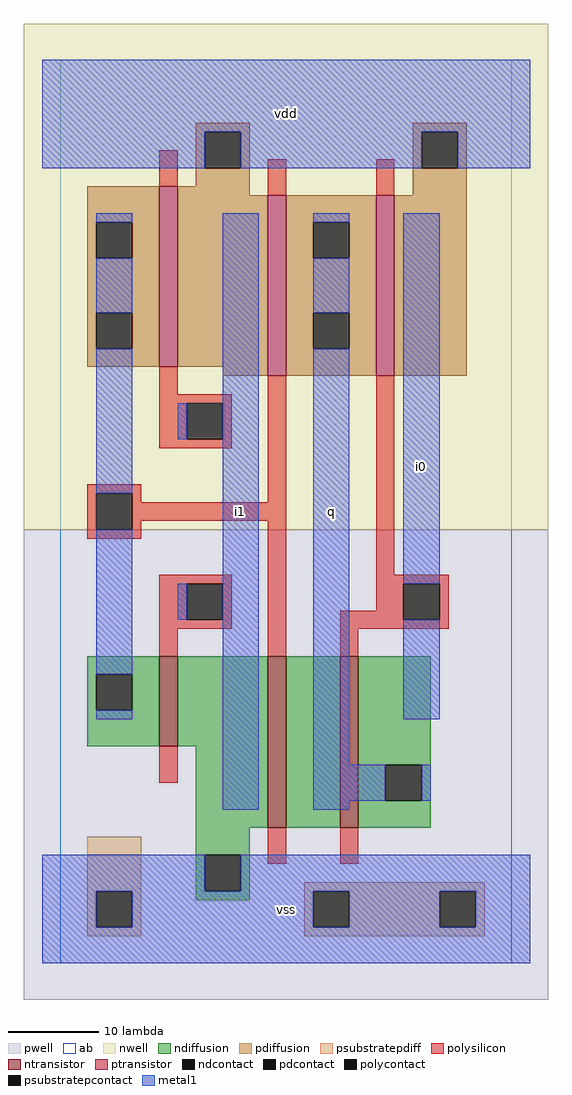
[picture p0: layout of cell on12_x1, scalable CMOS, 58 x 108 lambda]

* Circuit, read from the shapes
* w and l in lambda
.subckt on12_x1 i0 i1 q vdd vss
M1 vss i1 n1 vss nfet w=10 l=2
M2 n2 n1 vss vss nfet w=19 l=2
M3 q i0 n2 vss nfet w=19 l=2
M4 vdd i1 n1 n3 pfet w=20 l=2
M5 q n1 vdd n3 pfet w=20 l=2
M6 vdd i0 q n3 pfet w=20 l=2
.ends

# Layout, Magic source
magic
tech scmos
<< ab >>
rect 0 0 50 100
<< pwell >>
rect -4 -4 54 48
<< nwell >>
rect -4 48 54 104
<< polysilicon >>
rect 11 86 13 90
rect 23 85 25 89
rect 35 85 37 89
rect 11 63 13 66
rect 11 62 19 63
rect 11 58 14 62
rect 18 58 19 62
rect 11 57 19 58
rect 3 52 9 53
rect 3 48 4 52
rect 8 51 9 52
rect 23 51 25 65
rect 8 49 25 51
rect 8 48 9 49
rect 3 47 9 48
rect 11 42 19 43
rect 11 38 14 42
rect 18 38 19 42
rect 11 37 19 38
rect 11 34 13 37
rect 23 34 25 49
rect 35 43 37 65
rect 35 42 43 43
rect 35 39 38 42
rect 31 38 38 39
rect 42 38 43 42
rect 31 37 43 38
rect 31 34 33 37
rect 11 20 13 24
rect 23 11 25 15
rect 31 11 33 15
<< ndiffusion >>
rect 3 32 11 34
rect 3 28 4 32
rect 8 28 11 32
rect 3 24 11 28
rect 13 24 23 34
rect 15 15 23 24
rect 25 15 31 34
rect 33 22 41 34
rect 33 18 36 22
rect 40 18 41 22
rect 33 15 41 18
rect 15 12 21 15
rect 15 8 16 12
rect 20 8 21 12
rect 15 7 21 8
<< pdiffusion >>
rect 15 92 21 93
rect 15 88 16 92
rect 20 88 21 92
rect 39 92 45 93
rect 15 86 21 88
rect 3 82 11 86
rect 3 78 4 82
rect 8 78 11 82
rect 3 72 11 78
rect 3 68 4 72
rect 8 68 11 72
rect 3 66 11 68
rect 13 85 21 86
rect 39 88 40 92
rect 44 88 45 92
rect 39 85 45 88
rect 13 66 23 85
rect 18 65 23 66
rect 25 82 35 85
rect 25 78 28 82
rect 32 78 35 82
rect 25 72 35 78
rect 25 68 28 72
rect 32 68 35 72
rect 25 65 35 68
rect 37 65 45 85
<< metal1 >>
rect -2 92 52 100
rect -2 88 16 92
rect 20 88 40 92
rect 44 88 52 92
rect 4 82 8 83
rect 4 72 8 78
rect 4 52 8 68
rect 13 58 14 62
rect 4 32 8 48
rect 13 38 14 42
rect 4 27 8 28
rect 18 17 22 83
rect 28 82 32 83
rect 28 72 32 78
rect 28 22 32 68
rect 38 42 42 83
rect 38 27 42 38
rect 28 18 36 22
rect 40 18 41 22
rect 28 17 32 18
rect -2 8 16 12
rect 20 8 52 12
rect -2 4 4 8
rect 8 4 28 8
rect 32 4 42 8
rect 46 4 52 8
rect -2 0 52 4
<< ntransistor >>
rect 11 24 13 34
rect 23 15 25 34
rect 31 15 33 34
<< ptransistor >>
rect 11 66 13 86
rect 23 65 25 85
rect 35 65 37 85
<< polycontact >>
rect 14 58 18 62
rect 4 48 8 52
rect 14 38 18 42
rect 38 38 42 42
<< ndcontact >>
rect 4 28 8 32
rect 36 18 40 22
rect 16 8 20 12
<< pdcontact >>
rect 16 88 20 92
rect 4 78 8 82
rect 4 68 8 72
rect 40 88 44 92
rect 28 78 32 82
rect 28 68 32 72
<< psubstratepcontact >>
rect 4 4 8 8
rect 28 4 32 8
rect 42 4 46 8
<< psubstratepdiff >>
rect 3 8 9 14
rect 3 4 4 8
rect 8 4 9 8
rect 27 8 47 9
rect 3 3 9 4
rect 27 4 28 8
rect 32 4 42 8
rect 46 4 47 8
rect 27 3 47 4
<< labels >>
rlabel metal1 20 50 20 50 6 i1
rlabel metal1 25 6 25 6 6 vss
rlabel metal1 30 50 30 50 6 q
rlabel metal1 25 94 25 94 6 vdd
rlabel metal1 40 55 40 55 6 i0
<< end >>
